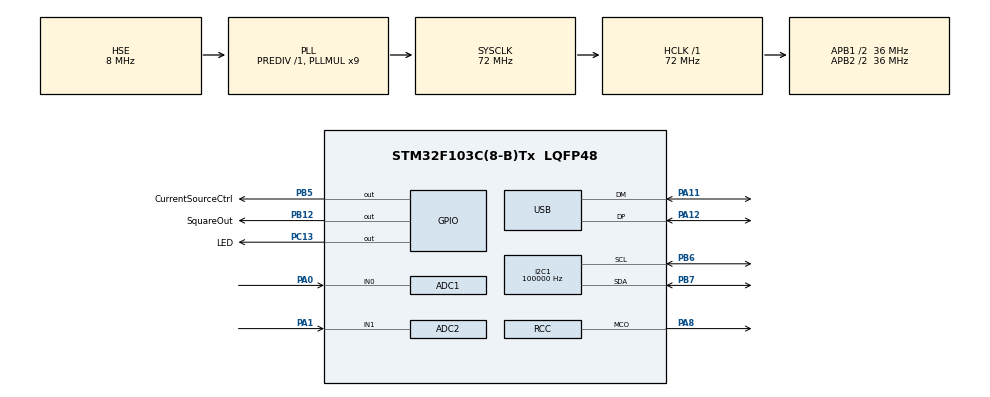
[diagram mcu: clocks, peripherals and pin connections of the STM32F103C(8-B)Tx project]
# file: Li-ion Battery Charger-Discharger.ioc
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ADC1.Channel-4\#ChannelRegularConversion=ADC_CHANNEL_0
ADC1.NbrOfConversionFlag=1
ADC1.Rank-4\#ChannelRegularConversion=1
ADC1.SamplingTime-4\#ChannelRegularConversion=ADC_SAMPLETIME_239CYCLES_5
ADC1.master=1
ADC2.Channel-0\#ChannelRegularConversion=ADC_CHANNEL_1
ADC2.NbrOfConversionFlag=1
ADC2.Rank-0\#ChannelRegularConversion=1
ADC2.SamplingTime-0\#ChannelRegularConversion=ADC_SAMPLETIME_239CYCLES_5
FREERTOS.INCLUDE_vTaskDelayUntil=1
FREERTOS.Tasks01=defaultTask,0,192,StartDefaultTask,Default,NULL,Dynamic,NULL,NULL;Task2,-2,192,vTask2,Default,NULL,Dynamic,NULL,NULL;Task3,-3,128,vTask3,Default,NULL,Dynamic,NULL,NULL
FREERTOS.configTOTAL_HEAP_SIZE=3280
FREERTOS.configUSE_COUNTING_SEMAPHORES=1
FREERTOS.configUSE_RECURSIVE_MUTEXES=1
FREERTOS.configUSE_TICKLESS_IDLE=1
I2C1.ClockSpeed=100000
I2C1.I2C_Mode=I2C_Fast
Mcu.Family=STM32F1
Mcu.Name=STM32F103C(8-B)Tx
Mcu.Package=LQFP48
NVIC.PriorityGroup=NVIC_PRIORITYGROUP_4
NVIC.TIM1_BRK_IRQn=true\:5\:0\:false\:false\:true\:true\:true
NVIC.TIM1_CC_IRQn=true\:5\:0\:false\:false\:true\:true\:true
NVIC.TIM1_TRG_COM_IRQn=true\:5\:0\:false\:false\:true\:true\:true
NVIC.TIM1_UP_IRQn=true\:5\:0\:false\:false\:true\:true\:true
NVIC.TIM4_IRQn=true\:0\:0\:false\:false\:true\:false\:true
NVIC.TimeBase=TIM4_IRQn
NVIC.TimeBaseIP=TIM4
NVIC.USB_LP_CAN1_RX0_IRQn=true\:5\:0\:false\:false\:true\:true\:true
PA0-WKUP.Signal=ADCx_IN0
PA1.Signal=ADCx_IN1
PA11.Mode=Device
PA11.Signal=USB_DM
PA12.Mode=Device
PA12.Signal=USB_DP
PA13.GPIO_Label=SWDIO
PA13.Mode=Trace_Asynchronous_SW
PA13.Signal=SYS_JTMS-SWDIO
PA14.GPIO_Label=SWCLK
PA14.Mode=Trace_Asynchronous_SW
PA14.Signal=SYS_JTCK-SWCLK
PA8.GPIO_Speed=GPIO_SPEED_FREQ_HIGH
PA8.Mode=Clock-out
PA8.Signal=RCC_MCO
PB12.GPIO_Label=SquareOut
PB12.Signal=GPIO_Output
PB3.GPIO_Label=TRACESWO
PB3.Mode=Trace_Asynchronous_SW
PB3.Signal=SYS_JTDO-TRACESWO
PB5.GPIO_Label=CurrentSourceCtrl
PB5.PinState=GPIO_PIN_SET
PB5.Signal=GPIO_Output
PB6.Mode=I2C
PB6.Signal=I2C1_SCL
PB7.Mode=I2C
PB7.Signal=I2C1_SDA
PC13-TAMPER-RTC.GPIO_Label=LED
PC13-TAMPER-RTC.PinState=GPIO_PIN_SET
PC13-TAMPER-RTC.Signal=GPIO_Output
PD0-OSC_IN.Mode=HSE-External-Oscillator
PD0-OSC_IN.Signal=RCC_OSC_IN
PD1-OSC_OUT.Mode=HSE-External-Oscillator
PD1-OSC_OUT.Signal=RCC_OSC_OUT
ProjectManager.HeapSize=0x0800
ProjectManager.StackSize=0x0C00
ProjectManager.TargetToolchain=SW4STM32
RCC.ADCPresc=RCC_ADCPCLK2_DIV8
RCC.AHBFreq_Value=72000000
RCC.APB1CLKDivider=RCC_HCLK_DIV2
RCC.APB1Freq_Value=36000000
RCC.APB1TimFreq_Value=72000000
RCC.APB2CLKDivider=RCC_HCLK_DIV2
RCC.APB2Freq_Value=36000000
RCC.APB2TimFreq_Value=72000000
RCC.HCLKFreq_Value=72000000
RCC.HSE_Timout=200
RCC.PLLMUL=RCC_PLL_MUL9
RCC.RCC_MCOSource=RCC_MCO1SOURCE_HSI
RCC.RTCClockSelection=RCC_RTCCLKSOURCE_HSE_DIV128
RCC.SYSCLKFreq_VALUE=72000000
RCC.SYSCLKSource=RCC_SYSCLKSOURCE_PLLCLK
RCC.USBFreq_Value=48000000
RCC.USBPrescaler=RCC_USBCLKSOURCE_PLL_DIV1_5
RTC.Date=2
RTC.Hours=9
RTC.Month=RTC_MONTH_JUNE
RTC.WeekDay=RTC_WEEKDAY_SATURDAY
RTC.Year=18
SH.ADCx_IN0.0=ADC1_IN0,IN0
SH.ADCx_IN1.0=ADC2_IN1,IN1
TIM1.AutoReloadPreload=TIM_AUTORELOAD_PRELOAD_ENABLE
TIM1.Period=1
TIM1.Prescaler=36000
USB.ep0_mps=DEP0CTL_MPS_64
USB_DEVICE.CLASS_NAME_FS=CDC
USB_DEVICE.VirtualMode=Cdc
USB_DEVICE.VirtualModeFS=Cdc_FS
VP_FREERTOS_VS_ENABLE.Mode=Enabled
VP_RTC_No_RTC_Output.Mode=RTC_OUT_NO
VP_RTC_VS_RTC_Activate.Mode=RTC_Enabled
VP_RTC_VS_RTC_Calendar.Mode=RTC_Calendar
VP_SYS_VS_tim4.Mode=TIM4
VP_TIM1_VS_ClockSourceINT.Mode=Internal
VP_USB_DEVICE_VS_USB_DEVICE_CDC_FS.Mode=CDC_FS
board=Li-ion Battery Charger-Discharger

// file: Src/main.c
/**
  ******************************************************************************
  * @file           : main.c
  * @brief          : Main program body
  ******************************************************************************
  * This notice applies to any and all portions of this file
  * that are not between comment pairs USER CODE BEGIN and
  * USER CODE END. Other portions of this file, whether
  * inserted by the user or by software development tools
  * are owned by their respective copyright owners.
  *
  * Copyright (c) 2018 STMicroelectronics International N.V.
  * All rights reserved.
  *
  * Redistribution and use in source and binary forms, with or without
  * modification, are permitted, provided that the following conditions are met:
  *
  * 1. Redistribution of source code must retain the above copyright notice,
  *    this list of conditions and the following disclaimer.
  * 2. Redistributions in binary form must reproduce the above copyright notice,
  *    this list of conditions and the following disclaimer in the documentation
  *    and/or other materials provided with the distribution.
  * 3. Neither the name of STMicroelectronics nor the names of other
  *    contributors to this software may be used to endorse or promote products
  *    derived from this software without specific written permission.
  * 4. This software, including modifications and/or derivative works of this
  *    software, must execute solely and exclusively on microcontroller or
  *    microprocessor devices manufactured by or for STMicroelectronics.
  * 5. Redistribution and use of this software other than as permitted under
  *    this license is void and will automatically terminate your rights under
  *    this license.
  *
  * THIS SOFTWARE IS PROVIDED BY STMICROELECTRONICS AND CONTRIBUTORS "AS IS"
  * AND ANY EXPRESS, IMPLIED OR STATUTORY WARRANTIES, INCLUDING, BUT NOT
  * LIMITED TO, THE IMPLIED WARRANTIES OF MERCHANTABILITY, FITNESS FOR A
  * PARTICULAR PURPOSE AND NON-INFRINGEMENT OF THIRD PARTY INTELLECTUAL PROPERTY
  * RIGHTS ARE DISCLAIMED TO THE FULLEST EXTENT PERMITTED BY LAW. IN NO EVENT
  * SHALL STMICROELECTRONICS OR CONTRIBUTORS BE LIABLE FOR ANY DIRECT, INDIRECT,
  * INCIDENTAL, SPECIAL, EXEMPLARY, OR CONSEQUENTIAL DAMAGES (INCLUDING, BUT NOT
  * LIMITED TO, PROCUREMENT OF SUBSTITUTE GOODS OR SERVICES; LOSS OF USE, DATA,
  * OR PROFITS; OR BUSINESS INTERRUPTION) HOWEVER CAUSED AND ON ANY THEORY OF
  * LIABILITY, WHETHER IN CONTRACT, STRICT LIABILITY, OR TORT (INCLUDING
  * NEGLIGENCE OR OTHERWISE) ARISING IN ANY WAY OUT OF THE USE OF THIS SOFTWARE,
  * EVEN IF ADVISED OF THE POSSIBILITY OF SUCH DAMAGE.
  *
  ******************************************************************************
  */
#include "main.h"
#include "stm32f1xx_hal.h"
#include "cmsis_os.h"
#include "usb_device.h"

/* USER CODE BEGIN Includes */
#include "usbd_cdc_if.h"
#include "pcf8574.h"
#include "hd44780.h"

/* USER CODE END Includes */

ADC_HandleTypeDef hadc1;
ADC_HandleTypeDef hadc2;

I2C_HandleTypeDef hi2c1;

RTC_HandleTypeDef hrtc;

TIM_HandleTypeDef htim1;

osThreadId defaultTaskHandle;
osThreadId Task2Handle;
osThreadId Task3Handle;

/* USER CODE BEGIN PV */
/* Private variables ---------------------------------------------------------*/
#define USB_TX_BUFFER_SIZE 64
#define USB_RX_BUFFER_SIZE 64

uint8_t usbCdcTxBuffer[USB_TX_BUFFER_SIZE];
uint8_t usbCdcTxBuffer2[USB_TX_BUFFER_SIZE];
uint8_t usbCdcRxBuffer[USB_RX_BUFFER_SIZE];
int received_data_size = 0;
int receive_total =0;

uint8_t toggle=0;
//PCF8574_HandleTypeDef	pcf;
LCD_PCF8574_HandleTypeDef	lcd;

/* Buffers used for displaying Time and Date */
uint32_t startCounter;
uint8_t aShowTime[50] = {0};
uint8_t aShowDate[50] = {0};
int ema_N=60;
double ema_k, ema_Vvalue=0.0, ema_Avalue=0.0;

/* USER CODE END PV */

void SystemClock_Config(void);
static void MX_GPIO_Init(void);
static void MX_TIM1_Init(void);
static void MX_I2C1_Init(void);
static void MX_RTC_Init(void);
static void MX_ADC1_Init(void);
static void MX_ADC2_Init(void);
void StartDefaultTask(void const * argument);
void vTask2(void const * argument);
void vTask3(void const * argument);

/* USER CODE BEGIN PFP */
/* Private function prototypes -----------------------------------------------*/
/* Private function prototypes -----------------------------------------------*/
static void RTC_CalendarConfig(void);
static void RTC_CalendarShow(uint8_t *showtime, uint8_t *showdate);
static uint32_t RTC_ReadTimeCounter(RTC_HandleTypeDef* hrtc);

#define ITM_Port8(n)    (*((volatile unsigned char *)(0xE0000000+4*n)))
#define ITM_Port16(n)   (*((volatile unsigned short*)(0xE0000000+4*n)))
#define ITM_Port32(n)   (*((volatile unsigned long *)(0xE0000000+4*n)))

#define DEMCR           (*((volatile unsigned long *)(0xE000EDFC)))
#define TRCENA          0x01000000

struct __FILE { int handle; /* Add whatever you need here */ };
FILE __stdout;
FILE __stdin;

int fputc(int ch, FILE *f) {
//  if (DEMCR & TRCENA) {
//    while (ITM_Port32(0) == 0);
//    ITM_Port8(0) = ch;
//  }
  ITM_SendChar(ch);
  return(ch);
}

/* USER CODE END PFP */

int main(void)
{

  /* MCU Configuration----------------------------------------------------------*/

  /* Reset of all peripherals, Initializes the Flash interface and the Systick. */
  HAL_Init();

  /* Configure the system clock */
  SystemClock_Config();

  /* Initialize all configured peripherals */
  MX_GPIO_Init();
  MX_TIM1_Init();
  MX_I2C1_Init();
  MX_RTC_Init();
  MX_ADC1_Init();
  MX_ADC2_Init();
  /* USER CODE BEGIN 2 */

  // Start the timer 1
  HAL_TIM_Base_Start_IT(&htim1);

  // LCDI2C_init
  // The I2C address is 0x20 + A2,A1,A0
  // A2, A1, A0 of PCF8574 are high (open)
  lcd.pcf8574.PCF_I2C_ADDRESS = 0x27;
  lcd.pcf8574.PCF_I2C_TIMEOUT = 1000;
  lcd.pcf8574.i2c.Instance = I2C1;
  lcd.pcf8574.i2c.Init.ClockSpeed = 400000;
  lcd.NUMBER_OF_LINES = NUMBER_OF_LINES_2; // Just use 2 lines instead of 4
  lcd.type = TYPE0;

  if(LCD_Init(&lcd)!=LCD_OK){
	  // error occured
    Error_Handler();
  }
  // Setup the initial value of real time calendar
  RTC_CalendarConfig();
  // update the startCounter value
  startCounter = RTC_ReadTimeCounter(&hrtc);

	// Calibrate ADC1
  if (HAL_ADCEx_Calibration_Start(&hadc1) != HAL_OK)
  {
    // Calibration Error
    Error_Handler();
  }
  // Calibrate ADC2
  if (HAL_ADCEx_Calibration_Start(&hadc2) != HAL_OK)
  {
    // Calibration Error
    Error_Handler();
  }

  /* USER CODE END 2 */

  /* Create the thread(s) */
  /* definition and creation of defaultTask */
  osThreadDef(defaultTask, StartDefaultTask, osPriorityNormal, 0, 192);
  defaultTaskHandle = osThreadCreate(osThread(defaultTask), NULL);

  /* definition and creation of Task2 */
  osThreadDef(Task2, vTask2, osPriorityLow, 0, 192);
  Task2Handle = osThreadCreate(osThread(Task2), NULL);

  /* definition and creation of Task3 */
  osThreadDef(Task3, vTask3, osPriorityIdle, 0, 128);
  Task3Handle = osThreadCreate(osThread(Task3), NULL);

  /* Start scheduler */
  osKernelStart();

  /* We should never get here as control is now taken by the scheduler */

  /* Infinite loop */
  while (1)
  {

  }

}

void SystemClock_Config(void)
{

  RCC_OscInitTypeDef RCC_OscInitStruct;
  RCC_ClkInitTypeDef RCC_ClkInitStruct;
  RCC_PeriphCLKInitTypeDef PeriphClkInit;

    /**Initializes the CPU, AHB and APB busses clocks
    */
  RCC_OscInitStruct.OscillatorType = RCC_OSCILLATORTYPE_HSI|RCC_OSCILLATORTYPE_HSE;
  RCC_OscInitStruct.HSEState = RCC_HSE_ON;
  RCC_OscInitStruct.HSEPredivValue = RCC_HSE_PREDIV_DIV1;
  RCC_OscInitStruct.HSIState = RCC_HSI_ON;
  RCC_OscInitStruct.HSICalibrationValue = 16;
  RCC_OscInitStruct.PLL.PLLState = RCC_PLL_ON;
  RCC_OscInitStruct.PLL.PLLSource = RCC_PLLSOURCE_HSE;
  RCC_OscInitStruct.PLL.PLLMUL = RCC_PLL_MUL9;
  if (HAL_RCC_OscConfig(&RCC_OscInitStruct) != HAL_OK)
  {
    _Error_Handler(__FILE__, __LINE__);
  }

    /**Initializes the CPU, AHB and APB busses clocks
    */
  RCC_ClkInitStruct.ClockType = RCC_CLOCKTYPE_HCLK|RCC_CLOCKTYPE_SYSCLK
                              |RCC_CLOCKTYPE_PCLK1|RCC_CLOCKTYPE_PCLK2;
  RCC_ClkInitStruct.SYSCLKSource = RCC_SYSCLKSOURCE_PLLCLK;
  RCC_ClkInitStruct.AHBCLKDivider = RCC_SYSCLK_DIV1;
  RCC_ClkInitStruct.APB1CLKDivider = RCC_HCLK_DIV2;
  RCC_ClkInitStruct.APB2CLKDivider = RCC_HCLK_DIV2;

  if (HAL_RCC_ClockConfig(&RCC_ClkInitStruct, FLASH_LATENCY_2) != HAL_OK)
  {
    _Error_Handler(__FILE__, __LINE__);
  }

  PeriphClkInit.PeriphClockSelection = RCC_PERIPHCLK_RTC|RCC_PERIPHCLK_ADC
                              |RCC_PERIPHCLK_USB;
  PeriphClkInit.RTCClockSelection = RCC_RTCCLKSOURCE_HSE_DIV128;
  PeriphClkInit.AdcClockSelection = RCC_ADCPCLK2_DIV8;
  PeriphClkInit.UsbClockSelection = RCC_USBCLKSOURCE_PLL_DIV1_5;
  if (HAL_RCCEx_PeriphCLKConfig(&PeriphClkInit) != HAL_OK)
  {
    _Error_Handler(__FILE__, __LINE__);
  }

  HAL_RCC_MCOConfig(RCC_MCO, RCC_MCO1SOURCE_HSI, RCC_MCODIV_1);

    /**Configure the Systick interrupt time
    */
  HAL_SYSTICK_Config(HAL_RCC_GetHCLKFreq()/1000);

    /**Configure the Systick
    */
  HAL_SYSTICK_CLKSourceConfig(SYSTICK_CLKSOURCE_HCLK);

  /* SysTick_IRQn interrupt configuration */
  HAL_NVIC_SetPriority(SysTick_IRQn, 15, 0);
}

/* ADC1 init function */
static void MX_ADC1_Init(void)
{

  ADC_ChannelConfTypeDef sConfig;

    /**Common config
    */
  hadc1.Instance = ADC1;
  hadc1.Init.ScanConvMode = ADC_SCAN_DISABLE;
  hadc1.Init.ContinuousConvMode = DISABLE;
  hadc1.Init.DiscontinuousConvMode = DISABLE;
  hadc1.Init.ExternalTrigConv = ADC_SOFTWARE_START;
  hadc1.Init.DataAlign = ADC_DATAALIGN_RIGHT;
  hadc1.Init.NbrOfConversion = 1;
  if (HAL_ADC_Init(&hadc1) != HAL_OK)
  {
    _Error_Handler(__FILE__, __LINE__);
  }

    /**Configure Regular Channel
    */
  sConfig.Channel = ADC_CHANNEL_0;
  sConfig.Rank = ADC_REGULAR_RANK_1;
  sConfig.SamplingTime = ADC_SAMPLETIME_239CYCLES_5;
  if (HAL_ADC_ConfigChannel(&hadc1, &sConfig) != HAL_OK)
  {
    _Error_Handler(__FILE__, __LINE__);
  }

}

/* ADC2 init function */
static void MX_ADC2_Init(void)
{

  ADC_ChannelConfTypeDef sConfig;

    /**Common config
    */
  hadc2.Instance = ADC2;
  hadc2.Init.ScanConvMode = ADC_SCAN_DISABLE;
  hadc2.Init.ContinuousConvMode = DISABLE;
  hadc2.Init.DiscontinuousConvMode = DISABLE;
  hadc2.Init.ExternalTrigConv = ADC_SOFTWARE_START;
  hadc2.Init.DataAlign = ADC_DATAALIGN_RIGHT;
  hadc2.Init.NbrOfConversion = 1;
  if (HAL_ADC_Init(&hadc2) != HAL_OK)
  {
    _Error_Handler(__FILE__, __LINE__);
  }

    /**Configure Regular Channel
    */
  sConfig.Channel = ADC_CHANNEL_1;
  sConfig.Rank = ADC_REGULAR_RANK_1;
  sConfig.SamplingTime = ADC_SAMPLETIME_239CYCLES_5;
  if (HAL_ADC_ConfigChannel(&hadc2, &sConfig) != HAL_OK)
  {
    _Error_Handler(__FILE__, __LINE__);
  }

}

/* I2C1 init function */
static void MX_I2C1_Init(void)
{

  hi2c1.Instance = I2C1;
  hi2c1.Init.ClockSpeed = 100000;
  hi2c1.Init.DutyCycle = I2C_DUTYCYCLE_2;
  hi2c1.Init.OwnAddress1 = 0;
  hi2c1.Init.AddressingMode = I2C_ADDRESSINGMODE_7BIT;
  hi2c1.Init.DualAddressMode = I2C_DUALADDRESS_DISABLE;
  hi2c1.Init.OwnAddress2 = 0;
  hi2c1.Init.GeneralCallMode = I2C_GENERALCALL_DISABLE;
  hi2c1.Init.NoStretchMode = I2C_NOSTRETCH_DISABLE;
  if (HAL_I2C_Init(&hi2c1) != HAL_OK)
  {
    _Error_Handler(__FILE__, __LINE__);
  }

}

/* RTC init function */
static void MX_RTC_Init(void)
{

  RTC_TimeTypeDef sTime;
  RTC_DateTypeDef DateToUpdate;

    /**Initialize RTC Only
    */
  hrtc.Instance = RTC;
  if(HAL_RTCEx_BKUPRead(&hrtc, RTC_BKP_DR1) != 0x32F2){
  hrtc.Init.AsynchPrediv = RTC_AUTO_1_SECOND;
  hrtc.Init.OutPut = RTC_OUTPUTSOURCE_NONE;
  if (HAL_RTC_Init(&hrtc) != HAL_OK)
  {
    _Error_Handler(__FILE__, __LINE__);
  }

    /**Initialize RTC and set the Time and Date
    */
  sTime.Hours = 0x9;
  sTime.Minutes = 0x0;
  sTime.Seconds = 0x0;

  if (HAL_RTC_SetTime(&hrtc, &sTime, RTC_FORMAT_BCD) != HAL_OK)
  {
    _Error_Handler(__FILE__, __LINE__);
  }

  DateToUpdate.WeekDay = RTC_WEEKDAY_SATURDAY;
  DateToUpdate.Month = RTC_MONTH_JUNE;
  DateToUpdate.Date = 0x2;
  DateToUpdate.Year = 0x18;

  if (HAL_RTC_SetDate(&hrtc, &DateToUpdate, RTC_FORMAT_BCD) != HAL_OK)
  {
    _Error_Handler(__FILE__, __LINE__);
  }

    HAL_RTCEx_BKUPWrite(&hrtc,RTC_BKP_DR1,0x32F2);
  }

}

/* TIM1 init function */
static void MX_TIM1_Init(void)
{

  TIM_ClockConfigTypeDef sClockSourceConfig;
  TIM_MasterConfigTypeDef sMasterConfig;

  htim1.Instance = TIM1;
  htim1.Init.Prescaler = 36000;
  htim1.Init.CounterMode = TIM_COUNTERMODE_UP;
  htim1.Init.Period = 1;
  htim1.Init.ClockDivision = TIM_CLOCKDIVISION_DIV1;
  htim1.Init.RepetitionCounter = 0;
  htim1.Init.AutoReloadPreload = TIM_AUTORELOAD_PRELOAD_ENABLE;
  if (HAL_TIM_Base_Init(&htim1) != HAL_OK)
  {
    _Error_Handler(__FILE__, __LINE__);
  }

  sClockSourceConfig.ClockSource = TIM_CLOCKSOURCE_INTERNAL;
  if (HAL_TIM_ConfigClockSource(&htim1, &sClockSourceConfig) != HAL_OK)
  {
    _Error_Handler(__FILE__, __LINE__);
  }

  sMasterConfig.MasterOutputTrigger = TIM_TRGO_RESET;
  sMasterConfig.MasterSlaveMode = TIM_MASTERSLAVEMODE_DISABLE;
  if (HAL_TIMEx_MasterConfigSynchronization(&htim1, &sMasterConfig) != HAL_OK)
  {
    _Error_Handler(__FILE__, __LINE__);
  }

}

/** Configure pins as
        * Analog
        * Input
        * Output
        * EVENT_OUT
        * EXTI
     PA8   ------> RCC_MCO
*/
static void MX_GPIO_Init(void)
{

  GPIO_InitTypeDef GPIO_InitStruct;

  /* GPIO Ports Clock Enable */
  __HAL_RCC_GPIOC_CLK_ENABLE();
  __HAL_RCC_GPIOD_CLK_ENABLE();
  __HAL_RCC_GPIOA_CLK_ENABLE();
  __HAL_RCC_GPIOB_CLK_ENABLE();

  /*Configure GPIO pin Output Level */
  HAL_GPIO_WritePin(LED_GPIO_Port, LED_Pin, GPIO_PIN_SET);

  /*Configure GPIO pin Output Level */
  HAL_GPIO_WritePin(SquareOut_GPIO_Port, SquareOut_Pin, GPIO_PIN_RESET);

  /*Configure GPIO pin Output Level */
  HAL_GPIO_WritePin(CurrentSourceCtrl_GPIO_Port, CurrentSourceCtrl_Pin, GPIO_PIN_SET);

  /*Configure GPIO pin : LED_Pin */
  GPIO_InitStruct.Pin = LED_Pin;
  GPIO_InitStruct.Mode = GPIO_MODE_OUTPUT_PP;
  GPIO_InitStruct.Speed = GPIO_SPEED_FREQ_LOW;
  HAL_GPIO_Init(LED_GPIO_Port, &GPIO_InitStruct);

  /*Configure GPIO pins : SquareOut_Pin CurrentSourceCtrl_Pin */
  GPIO_InitStruct.Pin = SquareOut_Pin|CurrentSourceCtrl_Pin;
  GPIO_InitStruct.Mode = GPIO_MODE_OUTPUT_PP;
  GPIO_InitStruct.Speed = GPIO_SPEED_FREQ_LOW;
  HAL_GPIO_Init(GPIOB, &GPIO_InitStruct);

  /*Configure GPIO pin : PA8 */
  GPIO_InitStruct.Pin = GPIO_PIN_8;
  GPIO_InitStruct.Mode = GPIO_MODE_AF_PP;
  GPIO_InitStruct.Speed = GPIO_SPEED_FREQ_HIGH;
  HAL_GPIO_Init(GPIOA, &GPIO_InitStruct);

}

/* USER CODE BEGIN 4 */
/**
  * @brief  Configure the current time and date.
  * @param  None
  * @retval None
  */
static void RTC_CalendarConfig(void)
{
  RTC_DateTypeDef sdatestructure;
  RTC_TimeTypeDef stimestructure;

  /*##-1- Configure the Date #################################################*/
  /* Set Date: Friday June 1st 2018 */
  sdatestructure.Year = 0x18;
  sdatestructure.Month = RTC_MONTH_JUNE;
  sdatestructure.Date = 0x1;
  sdatestructure.WeekDay = RTC_WEEKDAY_FRIDAY;

  if(HAL_RTC_SetDate(&hrtc,&sdatestructure,RTC_FORMAT_BCD) != HAL_OK)
  {
    /* Initialization Error */
    Error_Handler();
  }

  /*##-2- Configure the Time #################################################*/
  /* Set Time: 02:00:00 */
	if (HAL_RTCEx_BKUPRead(&hrtc, RTC_BKP_DR1) != 0x32F2)
	{
		stimestructure.Hours = 0x02;
		stimestructure.Minutes = 0x00;
		stimestructure.Seconds = 0x00;

		if (HAL_RTC_SetTime(&hrtc, &stimestructure, RTC_FORMAT_BCD) != HAL_OK)
		{
			/* Initialization Error */
			Error_Handler();
		}
		HAL_RTCEx_BKUPWrite(&hrtc, RTC_BKP_DR1, 0x32F2);
	}
			/*##-3- Writes a data in a RTC Backup data Register1 #######################*/
}

/**
  * @brief  Display the current time and date.
  * @param  showtime : pointer to buffer
  * @param  showdate : pointer to buffer
  * @retval None
  */
static void RTC_CalendarShow(uint8_t *showtime, uint8_t *showdate)
{
  RTC_DateTypeDef sdatestructureget;
  RTC_TimeTypeDef stimestructureget;

  /* Get the RTC current Time */
  HAL_RTC_GetTime(&hrtc, &stimestructureget, RTC_FORMAT_BIN);
  /* Get the RTC current Date */
  HAL_RTC_GetDate(&hrtc, &sdatestructureget, RTC_FORMAT_BIN);
  /* Display time Format : hh:mm:ss */
  sprintf((char *)showtime, "%2d:%2d:%2d", stimestructureget.Hours, stimestructureget.Minutes, stimestructureget.Seconds);
  /* Display date Format : mm-dd-yy */
  sprintf((char *)showdate, "%2d-%2d-%2d", sdatestructureget.Month, sdatestructureget.Date, 2000 + sdatestructureget.Year);
}

static uint32_t RTC_ReadTimeCounter(RTC_HandleTypeDef* hrtc)
{
  uint16_t high1 = 0U, high2 = 0U, low = 0U;
  uint32_t timecounter = 0U;

  high1 = READ_REG(hrtc->Instance->CNTH & RTC_CNTH_RTC_CNT);
  low   = READ_REG(hrtc->Instance->CNTL & RTC_CNTL_RTC_CNT);
  high2 = READ_REG(hrtc->Instance->CNTH & RTC_CNTH_RTC_CNT);

  if (high1 != high2)
  { /* In this case the counter roll over during reading of CNTL and CNTH registers,
       read again CNTL register then return the counter value */
    timecounter = (((uint32_t) high2 << 16U) | READ_REG(hrtc->Instance->CNTL & RTC_CNTL_RTC_CNT));
  }
  else
  { /* No counter roll over during reading of CNTL and CNTH registers, counter
       value is equal to first value of CNTL and CNTH */
    timecounter = (((uint32_t) high1 << 16U) | low);
  }

  return timecounter;
}

/* USER CODE END 4 */

/* StartDefaultTask function */
void StartDefaultTask(void const * argument)
{
  /* init code for USB_DEVICE */
  MX_USB_DEVICE_Init();

  /* USER CODE BEGIN 5 */
	int maxSize = 0;
  /* Infinite loop */
  for(int i=0;;i++)
  {
		printf("Task Default:%d\n",i);
		if(hUsbDeviceFS.dev_state == USBD_STATE_CONFIGURED)
		{
      USBD_CDC_SetRxBuffer(&hUsbDeviceFS, usbCdcRxBuffer);
		  USBD_CDC_ReceivePacket(&hUsbDeviceFS);
			int size = USBD_LL_GetRxDataSize(&hUsbDeviceFS, CDC_OUT_EP);
			if(size>maxSize) maxSize = size;
  		LCD_SetLocation(&lcd,14,3);
	  	LCD_WriteNumber(&lcd,maxSize,10);
			sprintf((char*)usbCdcTxBuffer,"Test%d\n",i);
			int n = strlen((char*)usbCdcTxBuffer);
			LCD_SetLocation(&lcd, 0, 3);
			if (hUsbDeviceFS.dev_state == USBD_STATE_CONFIGURED)
			{
				USBD_CDC_SetTxBuffer(&hUsbDeviceFS, usbCdcTxBuffer, n);
				USBD_CDC_TransmitPacket(&hUsbDeviceFS);
				CDC_Transmit_FS(usbCdcTxBuffer, n);
				LCD_WriteString(&lcd,"USB connected=      ");
			}
			else
			{
				LCD_WriteString(&lcd,"USB disconnected    ");
			}
		}
    osDelay(1000);
  }
  /* USER CODE END 5 */
}

/* vTask2 function */
void vTask2(void const * argument)
{
  /* USER CODE BEGIN vTask2 */
	char iMode = 1; // discharge = 1, charging = 2
  double voltage;
  double current;
	// Conversion factor for voltage measurement
	double cnvVFactor = 1.0/4091.0*(3.3*0.989965903)/0.327317676;
	// Conversion factor for current measurement
	double cnvAFactor = 1.0/4091.0*(3.3*0.989965903)*0.28714866;
	// Calculate k parameter for exponential moving average
	ema_k = 2.0/(ema_N+1.0);
	// Clear LCD
	LCD_ClearDisplay(&lcd);
  // Set the location to (0,0) the first column and the first line
  LCD_SetLocation(&lcd, 0, 0);
  // Write voltage and current labels
  if (iMode==1)
    LCD_WriteString(&lcd, "Discharging!");
  else
    LCD_WriteString(&lcd, "Charging!");
	// Set the location to (0,1) the first column and the second line
	LCD_SetLocation(&lcd, 0, 1);
	// Write voltage and current labels
	LCD_WriteString(&lcd, "V=      V I=     A");
  // Start the charging or discharging
	HAL_GPIO_WritePin(CurrentSourceCtrl_GPIO_Port, CurrentSourceCtrl_Pin, GPIO_PIN_RESET);
  // Wait until the voltage and current become stable.
  osDelay(50);
  // Start the conversion of ADC1
	if (HAL_ADC_Start(&hadc1) != HAL_OK) {
		/* ADC conversion start error */
		Error_Handler();
	}
  // Start the conversion of ADC2
	if (HAL_ADC_Start(&hadc2) != HAL_OK) {
		/* ADC conversion start error */
		Error_Handler();
	}
  // Check the end of conversion for ADC1
	if (HAL_ADC_PollForConversion(&hadc1, 50) != HAL_OK) {
		/* ADC polling error */
		Error_Handler();
	}
  // Check the end of conversion for ADC2
	if (HAL_ADC_PollForConversion(&hadc2, 50) != HAL_OK)	{
		/* ADC polling error */
		Error_Handler();
	}
	// Get the values from ADC1 and ADC2 and update moving average values
	uint32_t iVValue = HAL_ADC_GetValue(&hadc1);
	ema_Vvalue =  iVValue;
	uint32_t iAValue = HAL_ADC_GetValue(&hadc2);
	ema_Avalue =  iAValue;
  // Infinite loop
  for(int i=0;;i++)
  {
		printf("Task2:%d\n",i); // Debug message
		if (HAL_ADC_Start(&hadc1) != HAL_OK) {
			/* ADC conversion start error */
			Error_Handler();
		}
		if (HAL_ADC_Start(&hadc2) != HAL_OK) {
			/* ADC conversion start error */
			Error_Handler();
		}
		if (HAL_ADC_PollForConversion(&hadc1, 50) != HAL_OK) {
			/* ADC polling error */
			Error_Handler();
		}
		if (HAL_ADC_PollForConversion(&hadc2, 50) != HAL_OK) {
			/* ADC polling error */
			Error_Handler();
		}
		iVValue = HAL_ADC_GetValue(&hadc1);
		// Update the moving average for voltage
		ema_Vvalue = iVValue*ema_k+ema_Vvalue*(1.0-ema_k);
		iAValue = HAL_ADC_GetValue(&hadc2);
    // Update the moving average for current
		ema_Avalue = iAValue*ema_k+ema_Avalue*(1.0-ema_k);
		voltage = ema_Vvalue*cnvVFactor;
		current = ema_Avalue*cnvAFactor;
		// STM32 cannot reliably measure voltage less than 0.1V
		if (current <0.1) current = 0.0;
		// Display the voltage and current estimated using exponential moving average
		LCD_SetLocation(&lcd, 0, 1);
		sprintf((char*)usbCdcTxBuffer,"V=%6.4fV I=%5.3fA",voltage,current);
		LCD_WriteString(&lcd,(char*) usbCdcTxBuffer);
    // Show the time at the third line
		//RTC_CalendarShow(aShowTime, aShowDate);
		//LCD_SetLocation(&lcd, 0, 2);
		//LCD_WriteString(&lcd,(char*) aShowTime);
		uint32_t currentCounter = RTC_ReadTimeCounter(&hrtc);
		currentCounter -= startCounter;
		if(iMode){
		  // Display the current time and calculated capacity (mAh) at the third line
			LCD_SetLocation(&lcd,0,2);
			sprintf((char*)usbCdcTxBuffer,"%5u sec %6.1f mAh",(unsigned int)currentCounter,currentCounter/3.6*0.5);
			LCD_WriteString(&lcd,(char*) usbCdcTxBuffer);
			// If the voltage reached the threshold value, turn the dis/charging off
			if(currentCounter >= 30 && iMode == 1 && voltage <6.00) {
				HAL_GPIO_WritePin(CurrentSourceCtrl_GPIO_Port, CurrentSourceCtrl_Pin, GPIO_PIN_SET);
				iMode = 0;
			}
			else if(currentCounter >= 30 && iMode == 2 && voltage >8.46) { // with 8.7V supply voltage
				HAL_GPIO_WritePin(CurrentSourceCtrl_GPIO_Port, CurrentSourceCtrl_Pin, GPIO_PIN_SET);
				iMode = 0;
			}
		}
		voltage = iVValue*cnvVFactor;
		current = iAValue*cnvAFactor;
		// Show the raw voltage and current values
		LCD_SetLocation(&lcd, 0, 3);
		sprintf((char*)usbCdcTxBuffer,"%6.4fV, %5.3fA",voltage,current);
		LCD_WriteString(&lcd,(char*) usbCdcTxBuffer);
    osDelay(490);
  }
  /* USER CODE END vTask2 */
}

/* vTask3 function */
void vTask3(void const * argument)
{
  /* USER CODE BEGIN vTask3 */
  // Infinite loop
  for(int i=0;;i++)
  {
		printf("Task3 LED blinking:%d\n",i);
		HAL_GPIO_WritePin(LED_GPIO_Port, LED_Pin, GPIO_PIN_RESET);
    osDelay(500);
		HAL_GPIO_WritePin(LED_GPIO_Port, LED_Pin, GPIO_PIN_SET);
    osDelay(500);
  }
  /* USER CODE END vTask3 */
}

void HAL_TIM_PeriodElapsedCallback(TIM_HandleTypeDef *htim)
{
  if (htim->Instance == TIM4) {
    HAL_IncTick();
  }
}

void _Error_Handler(char *file, int line)
{
  while(1)
  {
  }
}

/************************ (C) COPYRIGHT STMicroelectronics *****END OF FILE****/

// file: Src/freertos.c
/**
  ******************************************************************************
  * File Name          : freertos.c
  * Description        : Code for freertos applications
  ******************************************************************************
  * This notice applies to any and all portions of this file
  * that are not between comment pairs USER CODE BEGIN and
  * USER CODE END. Other portions of this file, whether
  * inserted by the user or by software development tools
  * are owned by their respective copyright owners.
  *
  * Copyright (c) 2018 STMicroelectronics International N.V.
  * All rights reserved.
  *
  * Redistribution and use in source and binary forms, with or without
  * modification, are permitted, provided that the following conditions are met:
  *
  * 1. Redistribution of source code must retain the above copyright notice,
  *    this list of conditions and the following disclaimer.
  * 2. Redistributions in binary form must reproduce the above copyright notice,
  *    this list of conditions and the following disclaimer in the documentation
  *    and/or other materials provided with the distribution.
  * 3. Neither the name of STMicroelectronics nor the names of other
  *    contributors to this software may be used to endorse or promote products
  *    derived from this software without specific written permission.
  * 4. This software, including modifications and/or derivative works of this
  *    software, must execute solely and exclusively on microcontroller or
  *    microprocessor devices manufactured by or for STMicroelectronics.
  * 5. Redistribution and use of this software other than as permitted under
  *    this license is void and will automatically terminate your rights under
  *    this license.
  *
  * THIS SOFTWARE IS PROVIDED BY STMICROELECTRONICS AND CONTRIBUTORS "AS IS"
  * AND ANY EXPRESS, IMPLIED OR STATUTORY WARRANTIES, INCLUDING, BUT NOT
  * LIMITED TO, THE IMPLIED WARRANTIES OF MERCHANTABILITY, FITNESS FOR A
  * PARTICULAR PURPOSE AND NON-INFRINGEMENT OF THIRD PARTY INTELLECTUAL PROPERTY
  * RIGHTS ARE DISCLAIMED TO THE FULLEST EXTENT PERMITTED BY LAW. IN NO EVENT
  * SHALL STMICROELECTRONICS OR CONTRIBUTORS BE LIABLE FOR ANY DIRECT, INDIRECT,
  * INCIDENTAL, SPECIAL, EXEMPLARY, OR CONSEQUENTIAL DAMAGES (INCLUDING, BUT NOT
  * LIMITED TO, PROCUREMENT OF SUBSTITUTE GOODS OR SERVICES; LOSS OF USE, DATA,
  * OR PROFITS; OR BUSINESS INTERRUPTION) HOWEVER CAUSED AND ON ANY THEORY OF
  * LIABILITY, WHETHER IN CONTRACT, STRICT LIABILITY, OR TORT (INCLUDING
  * NEGLIGENCE OR OTHERWISE) ARISING IN ANY WAY OUT OF THE USE OF THIS SOFTWARE,
  * EVEN IF ADVISED OF THE POSSIBILITY OF SUCH DAMAGE.
  *
  ******************************************************************************
  */

#include "FreeRTOS.h"
#include "task.h"

/* Pre/Post sleep processing prototypes */
void PreSleepProcessing(uint32_t *ulExpectedIdleTime);
void PostSleepProcessing(uint32_t *ulExpectedIdleTime);

/* Hook prototypes */

/* USER CODE BEGIN PREPOSTSLEEP */
__weak void PreSleepProcessing(uint32_t *ulExpectedIdleTime)
{
/* place for user code */
}

__weak void PostSleepProcessing(uint32_t *ulExpectedIdleTime)
{
/* place for user code */
}
/* USER CODE END PREPOSTSLEEP */

/************************ (C) COPYRIGHT STMicroelectronics *****END OF FILE****/
